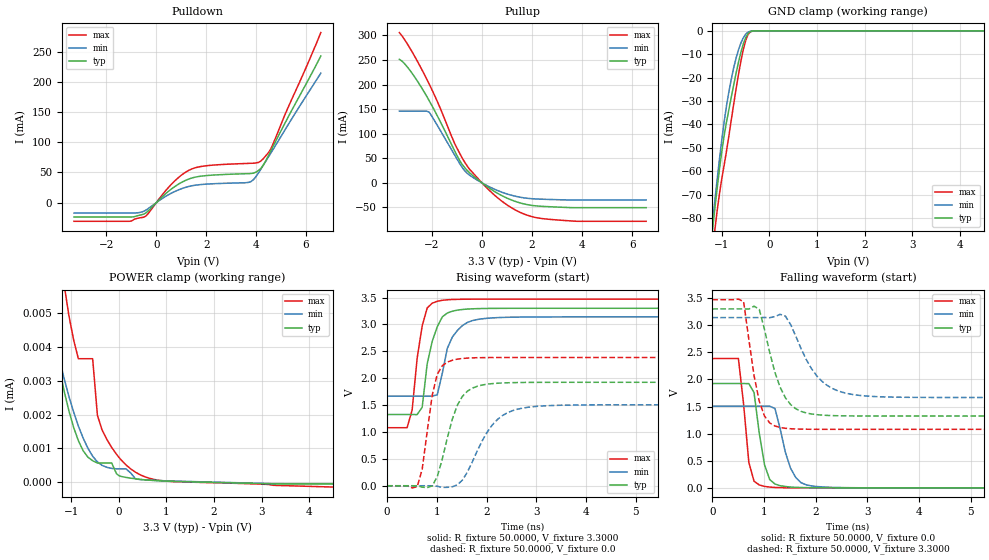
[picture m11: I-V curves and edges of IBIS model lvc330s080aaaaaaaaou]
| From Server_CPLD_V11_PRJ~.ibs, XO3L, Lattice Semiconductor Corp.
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[Model]   lvc330s080aaaaaaaaou
Model_type   Output
Polarity   Non-Inverting
Enable   Active-Low
Vmeas =   1.500000V
Cref =   0.0F
Rref =   1.0000M
Vref =   0.0V
C_comp   4.2000pF   3.8000pF   7.5000pF
[Temperature Range]   25.0000   0.1050k   -40.0000
[Voltage Range]   3.3000V   3.1400V   3.4700V
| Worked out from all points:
|   slope of the pulldown table from 0 to 0.495 V, typ, clamps not added: 26 ohm
|   slope of the pullup table from 0 to 0.495 V, typ, clamps not added: 28.5 ohm
|   GND clamp passes 1 mA (typ) near -0.44 V on its own axis
|   rising waveform, R_fixture 50.0000, V_fixture 3.3000: 20-80 % time 251ps typ, 301ps min, 192ps max; typ from 1.32 V to 3.3 V
|   rising waveform, R_fixture 50.0000, V_fixture 0.0: 20-80 % time 363ps typ, 551ps min, 235ps max; typ from 0 V to 1.92 V
|   falling waveform, R_fixture 50.0000, V_fixture 0.0: 20-80 % time 188ps typ, 267ps min, 144ps max; typ from 1.92 V to 0 V
|   falling waveform, R_fixture 50.0000, V_fixture 3.3000: 20-80 % time 370ps typ, 535ps min, 253ps max; typ from 3.3 V to 1.32 V
[Pulldown]
|Voltage   I(typ)   I(min)   I(max)
-3.3V     -23.68mA   -17.2mA    -30.83mA
-1.1V     -23.68mA   -17.2mA    -30.83mA
-500mV    -18.89mA   -14.22mA   -24.07mA
-400mV    -16.44mA   -11.92mA   -21.58mA
600mV     22.43mA    15.62mA    30.22mA
1.3V      39.15mA    26.81mA    53.52mA
2V        44.82mA    30.69mA    61.1mA
3.7V      48.02mA    33.59mA    65.1mA
3.9V      48.94mA    38.13mA    65.35mA
4.2V      57.11mA    55.89mA    69.15mA
4.6V      86.19mA    82.47mA    89.45mA
6.6V      242.9mA    214.5mA    281.7mA
[Pullup]
|Voltage   I(typ)   I(min)   I(max)
-3.3V     251.3mA    145.8mA    305.6mA
-2.8V     223.5mA    145.8mA    267.3mA
-2.1V     166.4mA    143.5mA    200mA
-1.7V     127.9mA    109.7mA    155.7mA
-1.1V     65.82mA    57.34mA    80.93mA
-700mV    31.56mA    25.14mA    42.75mA
100mV     -3.836mA   -2.847mA   -5.414mA
800mV     -26.11mA   -19.07mA   -37.53mA
1.5V      -40.43mA   -28.94mA   -59.42mA
2.3V      -47.34mA   -33.02mA   -71.88mA
3.8V      -50.39mA   -34.76mA   -78.11mA
6.55V     -50.39mA   -34.76mA   -78.11mA
[GND_clamp]
|Voltage   I(typ)   I(min)   I(max)
-3.3V     -955.3mA   -930.3mA   -978mA
-1.2V     -86.18mA   -82.93mA   -94.91mA
-1.15V    -76.73mA   -73.29mA   -85.74mA
-1.1V     -67.71mA   -63.95mA   -77.28mA
-1V       -51.52mA   -46.57mA   -63.21mA
-900mV    -38.87mA   -31.88mA   -51.26mA
-800mV    -28.25mA   -20.58mA   -37.97mA
-700mV    -18.1mA    -11.63mA   -24.81mA
-600mV    -9.267mA   -5.265mA   -13.06mA
-450mV    -1.181mA   -586.6uA   -1.592mA
-250mV    -3.532uA   -4.055uA   -3.003uA
6.6V      0A         0A         0A
[POWER_clamp]
|Voltage   I(typ)   I(min)   I(max)
-3.25V    664.8uA    749.4uA    597.1uA
-1.55V    5.914uA    5.712uA    11.4uA
-1.45V    4.987uA    4.974uA    9.751uA
-1.15V    2.703uA    3.073uA    5.863uA
-850mV    1.226uA    1.662uA    3.655uA
-550mV    631.3nA    766.5nA    3.655uA
-450mV    563.6nA    595.5nA    1.977uA
-150mV    563.6nA    404.4nA    1.026uA
0V        190.5nA    391.2nA    734.7nA
450mV     79.23nA    72.94nA    213.9nA
950mV     30.32nA    38.42nA    33.55nA
6.6V      -57.56nA   -49.34nA   -232.5nA
[Ramp]
| variable   typ   min   max
dV/dt_r  1.1542/0.3590n   0.9035/0.5460n   1.4308/0.2329n
dV/dt_f  1.1855/0.3662n   0.8843/0.5297n   1.4345/0.2507n
R_load = 50.0000
[Rising Waveform]
R_fixture=   50.0000
V_fixture=   3.3000
V_fixture_min=   3.1400
V_fixture_max=   3.4700
|time   V(typ)   V(min)   V(max)
0s        1.324V     1.666V     1.079V
404ps     1.324V     1.666V     1.079V
505.1ps   1.324V     1.666V     1.407V
606.1ps   1.323V     1.666V     2.373V
707.1ps   1.46V      1.666V     2.973V
808.1ps   2.269V     1.667V     3.306V
1.01ns    2.956V     1.691V     3.43V
1.313ns   3.246V     2.765V     3.463V
1.818ns   3.293V     3.091V     3.469V
10ns      3.3V       3.14V      3.47V
[Rising Waveform]
R_fixture=   50.0000
V_fixture=   0.0
V_fixture_min=   0.0
V_fixture_max=   0.0
|time   V(typ)   V(min)   V(max)
0s        830nV      1.065uV    812.2nV
606.1ps   -647.3uV   2.343uV    -19.28mV
707.1ps   -25.56mV   18.24uV    307.2mV
909.1ps   -1.644mV   -352.6uV   1.685V
1.01ns    168.3mV    -10.05mV   2.075V
1.313ns   1.24V      -19.03mV   2.334V
1.717ns   1.816V     450.2mV    2.378V
2.121ns   1.9V       1.136V     2.384V
2.727ns   1.921V     1.444V     2.385V
10ns      1.924V     1.506V     2.385V
[Falling Waveform]
R_fixture=   50.0000
V_fixture=   0.0
V_fixture_min=   0.0
V_fixture_max=   0.0
|time   V(typ)   V(min)   V(max)
0s        1.924V     1.506V     2.385V
505.1ps   1.924V     1.506V     2.387V
707.1ps   1.923V     1.506V     469.1mV
808.1ps   1.757V     1.506V     123.1mV
1.01ns    427.9mV    1.507V     27.45mV
1.212ns   71.02mV    1.464V     7.412mV
1.414ns   24.43mV    655.3mV    2.129mV
1.616ns   9.884mV    189mV      652.9uV
1.919ns   2.628mV    35.9mV     184.5uV
10ns      -6.753uV   -8.585uV   -14.06uV
[Falling Waveform]
R_fixture=   50.0000
V_fixture=   3.3000
V_fixture_min=   3.1400
V_fixture_max=   3.4700
|time   V(typ)   V(min)   V(max)
0s        3.3V       3.14V      3.47V
606.1ps   3.3V       3.14V      3.436V
808.1ps   3.351V     3.14V      2.072V
909.1ps   3.292V     3.14V      1.597V
1.111ns   2.497V     3.138V     1.198V
1.313ns   1.855V     3.2V       1.113V
1.616ns   1.458V     2.796V     1.086V
2.02ns    1.35V      2.067V     1.08V
2.626ns   1.327V     1.737V     1.079V
10ns      1.324V     1.666V     1.079V
